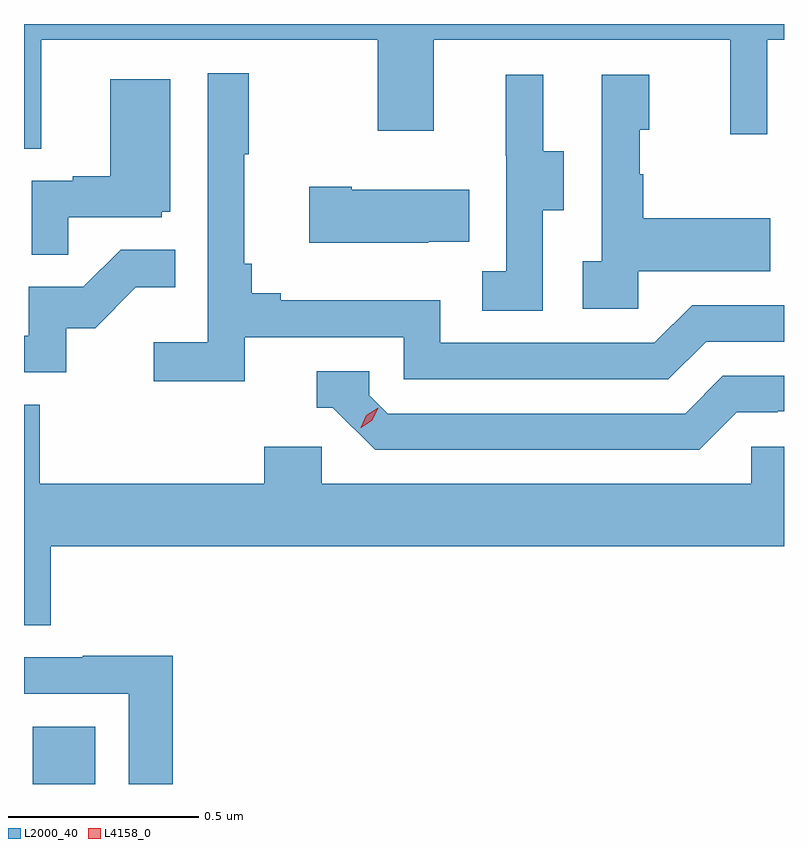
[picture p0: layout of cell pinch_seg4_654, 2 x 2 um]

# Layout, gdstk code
import gdstk
lib = gdstk.Library(unit=1e-6, precision=1e-09)
def R(c, l, rs):  # rectangles x0, y0, x1, y1
    for r in rs: c.add(gdstk.rectangle(r[:2], r[2:], *l))
def P(c, l, *ps):  # polygons
    for p in ps: c.add(gdstk.Polygon(p, *l))
L2000_40 = (2000, 40)
L4158_0 = (4158, 0)

pinch_seg4_654 = lib.new_cell('pinch_seg4_654')
R(pinch_seg4_654, L2000_40, [(1046.258,758.898,1046.422,759.049)])
P(pinch_seg4_654, L2000_40, [(1046.281,760.856),(1047.166,760.856),(1047.166,760.617),(1047.313,760.617),(1047.313,760.856),(1048.094,760.856),(1048.094,760.608),(1048.191,760.608),(1048.191,760.856),(1048.235,760.856),(1048.235,760.898),(1046.235,760.898),(1046.235,760.57),(1046.281,760.57)],
  [(1046.816,760.074),(1047.234,760.074),(1047.234,759.963),(1047.931,759.963),(1048.03,760.062),(1048.235,760.062),(1048.235,760.158),(1047.993,760.158),(1047.894,760.059),(1047.33,760.059),(1047.33,760.171),(1046.911,760.171),(1046.911,760.19),(1046.834,760.19),(1046.834,760.267),(1046.815,760.267),(1046.815,760.555),(1046.827,760.555),(1046.827,760.768),(1046.718,760.768),(1046.718,760.06),(1046.577,760.06),(1046.577,759.958),(1046.816,759.958)],
  [(1047.6,760.408),(1047.655,760.408),(1047.655,760.563),(1047.601,760.563),(1047.601,760.765),(1047.503,760.765),(1047.503,760.551),(1047.504,760.551),(1047.504,760.247),(1047.441,760.247),(1047.441,760.144),(1047.6,760.144)],
  [(1047.852,760.247),(1048.199,760.247),(1048.199,760.387),(1047.865,760.387),(1047.865,760.502),(1047.855,760.502),(1047.855,760.62),(1047.88,760.62),(1047.88,760.765),(1047.756,760.765),(1047.756,760.274),(1047.705,760.274),(1047.705,760.149),(1047.852,760.149)],
  [(1046.351,760.389),(1046.598,760.389),(1046.598,760.404),(1046.62,760.404),(1046.62,760.753),(1046.462,760.753),(1046.462,760.498),(1046.363,760.498),(1046.363,760.485),(1046.256,760.485),(1046.256,760.291),(1046.351,760.291)],
  [(1047.299,760.325),(1047.407,760.325),(1047.407,760.462),(1047.097,760.462),(1047.097,760.47),(1046.985,760.47),(1046.985,760.322),(1047.299,760.322)],
  [(1046.346,760.098),(1046.422,760.098),(1046.529,760.205),(1046.633,760.205),(1046.633,760.304),(1046.489,760.304),(1046.391,760.206),(1046.247,760.206),(1046.247,760.077),(1046.235,760.077),(1046.235,759.981),(1046.346,759.981)],
  [(1048.111,759.876),(1048.218,759.876),(1048.218,759.879),(1048.235,759.879),(1048.235,759.972),(1048.074,759.972),(1047.975,759.873),(1047.192,759.873),(1047.144,759.921),(1047.144,759.984),(1047.005,759.984),(1047.005,759.888),(1047.048,759.888),(1047.159,759.777),(1048.012,759.777)],
  [(1046.305,759.524),(1048.235,759.524),(1048.235,759.786),(1048.149,759.786),(1048.149,759.688),(1047.018,759.688),(1047.018,759.786),(1046.867,759.786),(1046.867,759.688),(1046.276,759.688),(1046.276,759.896),(1046.235,759.896),(1046.235,759.316),(1046.305,759.316)],
  [(1046.627,759.236),(1046.389,759.236),(1046.389,759.231),(1046.235,759.231),(1046.235,759.135),(1046.511,759.135),(1046.511,758.898),(1046.627,758.898)])
P(pinch_seg4_654, L4158_0, [(1047.121,759.835),(1047.121,759.835),(1047.136,759.868),(1047.167,759.888),(1047.167,759.888),(1047.167,759.888),(1047.152,759.855),(1047.122,759.835)])

lib.write_gds('pinch_seg4_654.gds')
